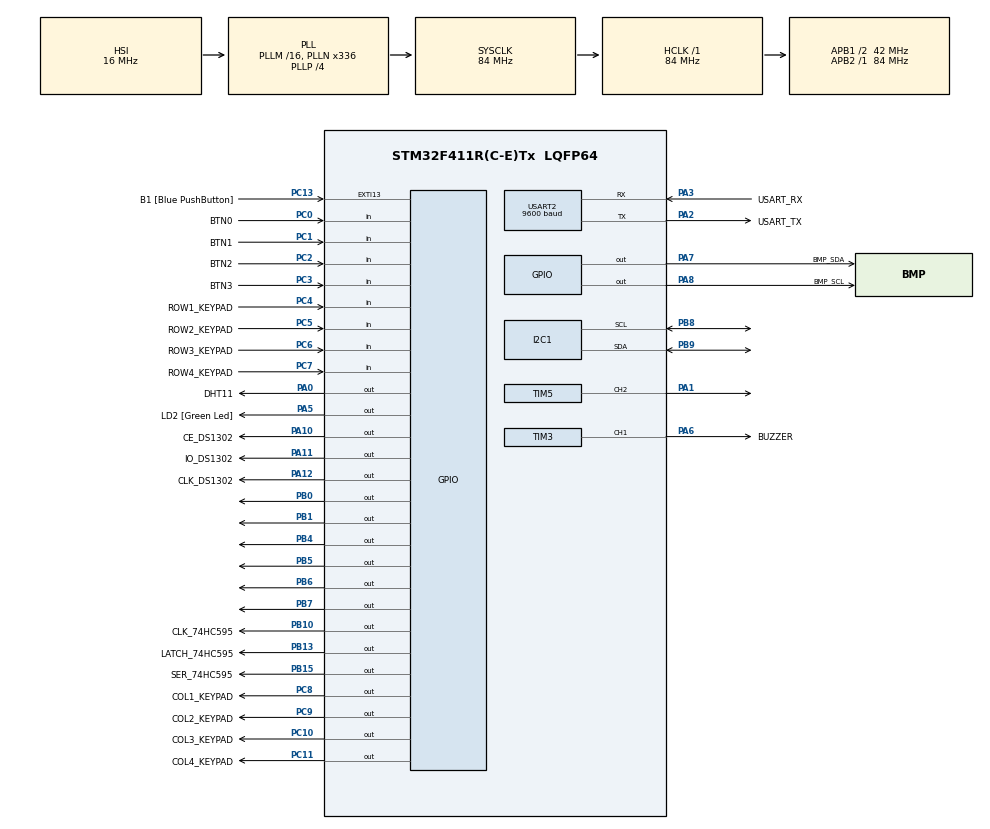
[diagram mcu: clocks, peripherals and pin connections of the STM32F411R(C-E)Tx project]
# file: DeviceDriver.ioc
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FREERTOS.Tasks01=defaultTask,24,128,StartDefaultTask,Default,NULL,Dynamic,NULL,NULL;myTask02,8,128,StartTask02,Default,NULL,Dynamic,NULL,NULL;myTask03,8,128,StartTask03,Default,NULL,Dynamic,NULL,NULL
FREERTOS.configUSE_NEWLIB_REENTRANT=1
Mcu.Family=STM32F4
Mcu.Name=STM32F411R(C-E)Tx
Mcu.Package=LQFP64
NVIC.PriorityGroup=NVIC_PRIORITYGROUP_4
NVIC.TIM1_TRG_COM_TIM11_IRQn=true\:5\:0\:false\:false\:true\:true\:true\:true\:true
NVIC.TIM1_UP_TIM10_IRQn=true\:15\:0\:false\:false\:true\:false\:false\:true\:true
NVIC.TIM3_IRQn=true\:5\:0\:false\:false\:true\:true\:true\:true\:true
NVIC.TIM5_IRQn=true\:5\:0\:false\:false\:true\:true\:true\:true\:true
NVIC.TimeBase=TIM1_UP_TIM10_IRQn
NVIC.TimeBaseIP=TIM10
NVIC.USART2_IRQn=true\:5\:0\:false\:false\:true\:true\:true\:true\:true
PA0-WKUP.GPIO_Label=DHT11
PA0-WKUP.Signal=GPIO_Output
PA1.Signal=S_TIM5_CH2
PA10.GPIO_Label=CE_DS1302
PA10.Signal=GPIO_Output
PA11.GPIO_Label=IO_DS1302
PA11.Signal=GPIO_Output
PA12.GPIO_Label=CLK_DS1302
PA12.Signal=GPIO_Output
PA13.GPIO_Label=TMS
PA13.Mode=Serial_Wire
PA13.Signal=SYS_JTMS-SWDIO
PA14.GPIO_Label=TCK
PA14.Mode=Serial_Wire
PA14.Signal=SYS_JTCK-SWCLK
PA2.GPIO_Label=USART_TX
PA2.Mode=Asynchronous
PA2.Signal=USART2_TX
PA3.GPIO_Label=USART_RX
PA3.Mode=Asynchronous
PA3.Signal=USART2_RX
PA5.GPIO_Label=LD2 [Green Led]
PA5.Signal=GPIO_Output
PA6.GPIO_Label=BUZZER
PA6.Signal=S_TIM3_CH1
PA7.GPIO_Label=BMP_SDA
PA7.GPIO_PuPd=GPIO_PULLUP
PA7.Signal=GPIO_Output
PA8.GPIO_Label=BMP_SCL
PA8.GPIO_PuPd=GPIO_PULLUP
PA8.Signal=GPIO_Output
PB0.Signal=GPIO_Output
PB1.Signal=GPIO_Output
PB10.GPIO_Label=CLK_74HC595
PB10.Signal=GPIO_Output
PB13.GPIO_Label=LATCH_74HC595
PB13.Signal=GPIO_Output
PB15.GPIO_Label=SER_74HC595
PB15.Signal=GPIO_Output
PB4.GPIO_PuPd=GPIO_NOPULL
PB4.Signal=GPIO_Output
PB5.Signal=GPIO_Output
PB6.Signal=GPIO_Output
PB7.Signal=GPIO_Output
PB8.Mode=I2C
PB8.Signal=I2C1_SCL
PB9.Mode=I2C
PB9.Signal=I2C1_SDA
PC0.GPIO_Label=BTN0
PC0.Signal=GPIO_Input
PC1.GPIO_Label=BTN1
PC1.Signal=GPIO_Input
PC10.GPIO_Label=COL3_KEYPAD
PC10.Signal=GPIO_Output
PC11.GPIO_Label=COL4_KEYPAD
PC11.Signal=GPIO_Output
PC13-ANTI_TAMP.GPIO_Label=B1 [Blue PushButton]
PC13-ANTI_TAMP.GPIO_ModeDefaultEXTI=GPIO_MODE_IT_FALLING
PC13-ANTI_TAMP.Signal=GPXTI13
PC14-OSC32_IN.Mode=LSE-External-Oscillator
PC14-OSC32_IN.Signal=RCC_OSC32_IN
PC15-OSC32_OUT.Mode=LSE-External-Oscillator
PC15-OSC32_OUT.Signal=RCC_OSC32_OUT
PC2.GPIO_Label=BTN2
PC2.Signal=GPIO_Input
PC3.GPIO_Label=BTN3
PC3.Signal=GPIO_Input
PC4.GPIO_Label=ROW1_KEYPAD
PC4.GPIO_PuPd=GPIO_PULLUP
PC4.Signal=GPIO_Input
PC5.GPIO_Label=ROW2_KEYPAD
PC5.GPIO_PuPd=GPIO_PULLUP
PC5.Signal=GPIO_Input
PC6.GPIO_Label=ROW3_KEYPAD
PC6.GPIO_PuPd=GPIO_PULLUP
PC6.Signal=GPIO_Input
PC7.GPIO_Label=ROW4_KEYPAD
PC7.GPIO_PuPd=GPIO_PULLUP
PC7.Signal=GPIO_Input
PC8.GPIO_Label=COL1_KEYPAD
PC8.Signal=GPIO_Output
PC9.GPIO_Label=COL2_KEYPAD
PC9.Signal=GPIO_Output
PH0\ -\ OSC_IN.Mode=HSE-External-Clock-Source
PH0\ -\ OSC_IN.Signal=RCC_OSC_IN
PH1\ -\ OSC_OUT.Mode=HSE-External-Clock-Source
PH1\ -\ OSC_OUT.Signal=RCC_OSC_OUT
ProjectManager.HeapSize=0x200
ProjectManager.StackSize=0x400
ProjectManager.TargetToolchain=STM32CubeIDE
RCC.48MHZClocksFreq_Value=84000000
RCC.AHBFreq_Value=84000000
RCC.APB1CLKDivider=RCC_HCLK_DIV2
RCC.APB1Freq_Value=42000000
RCC.APB1TimFreq_Value=84000000
RCC.APB2Freq_Value=84000000
RCC.APB2TimFreq_Value=84000000
RCC.CortexFreq_Value=84000000
RCC.FLatency-AdvancedSettings=FLASH_LATENCY_2
RCC.HCLKFreq_Value=84000000
RCC.HSE_VALUE=8000000
RCC.HSI_VALUE=16000000
RCC.PLLN=336
RCC.PLLP=RCC_PLLP_DIV4
RCC.SYSCLKFreq_VALUE=84000000
RCC.SYSCLKSource=RCC_SYSCLKSOURCE_PLLCLK
RCC.VCOOutputFreq_Value=336000000
SH.S_TIM3_CH1.0=TIM3_CH1,PWM Generation1 CH1
SH.S_TIM5_CH2.0=TIM5_CH2,PWM Generation2 CH2
TIM11.Period=1000-1
TIM11.Prescaler=84-1
TIM2.Prescaler=84-1
TIM3.Channel-PWM\ Generation1\ CH1=TIM_CHANNEL_1
TIM3.Period=400-1
TIM3.Prescaler=52.5-1
TIM3.Pulse-PWM\ Generation1\ CH1=200-1
TIM5.Channel-PWM\ Generation2\ CH2=TIM_CHANNEL_2
TIM5.Period=1000-1
TIM5.Prescaler=1680-1
USART2.BaudRate=9600
USART2.VirtualMode=VM_ASYNC
VP_FREERTOS_VS_CMSIS_V2.Mode=CMSIS_V2
VP_SYS_VS_tim10.Mode=TIM10
VP_TIM11_VS_ClockSourceINT.Mode=Enable_Timer
VP_TIM2_VS_ClockSourceINT.Mode=Internal
VP_TIM3_VS_ClockSourceINT.Mode=Internal
VP_TIM5_VS_ClockSourceINT.Mode=Internal
board=NUCLEO-F411RE

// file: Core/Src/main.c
/* USER CODE BEGIN Header */
/**
  ******************************************************************************
  * @file           : main.c
  * @brief          : Main program body
  ******************************************************************************
  * @attention
  *
  * Copyright (c) 2025 STMicroelectronics.
  * All rights reserved.
  *
  * This software is licensed under terms that can be found in the LICENSE file
  * in the root directory of this software component.
  * If no LICENSE file comes with this software, it is provided AS-IS.
  *
  ******************************************************************************
  */
/* USER CODE END Header */
#include "main.h"
#include "cmsis_os.h"

/* USER CODE BEGIN Includes */
#include "def.h"
#include "extern.h"

#include "devicedriver.h"
/* USER CODE END Includes */

I2C_HandleTypeDef hi2c1;

TIM_HandleTypeDef htim2;
TIM_HandleTypeDef htim3;
TIM_HandleTypeDef htim5;
TIM_HandleTypeDef htim11;

UART_HandleTypeDef huart2;

/* Definitions for defaultTask */
osThreadId_t defaultTaskHandle;
const osThreadAttr_t defaultTask_attributes = {
  .name = "defaultTask",
  .stack_size = 128 * 4,
  .priority = (osPriority_t) osPriorityNormal,
};
/* Definitions for myTask02 */
osThreadId_t myTask02Handle;
const osThreadAttr_t myTask02_attributes = {
  .name = "myTask02",
  .stack_size = 128 * 4,
  .priority = (osPriority_t) osPriorityLow,
};
/* Definitions for myTask03 */
osThreadId_t myTask03Handle;
const osThreadAttr_t myTask03_attributes = {
  .name = "myTask03",
  .stack_size = 128 * 4,
  .priority = (osPriority_t) osPriorityLow,
};
/* USER CODE BEGIN PV */

uint8_t rx_data; // uart2 rx byte

volatile int TIM11_1ms_counter;

volatile int TIM11_keypad_scan_timer = 0;
/* USER CODE END PV */

void SystemClock_Config(void);
static void MX_GPIO_Init(void);
static void MX_USART2_UART_Init(void);
static void MX_TIM11_Init(void);
static void MX_TIM2_Init(void);
static void MX_I2C1_Init(void);
static void MX_TIM3_Init(void);
static void MX_TIM5_Init(void);
void StartDefaultTask(void *argument);
void StartTask02(void *argument);
void StartTask03(void *argument);

/* USER CODE BEGIN 0 */
#ifdef __GNUC__    // Add for printf
/* With GCC, small printf (option LD Linker->Libraries->Small printf
   set to 'Yes') calls __io_putchar() */
#define PUTCHAR_PROTOTYPE int __io_putchar(int ch)
#else
#define PUTCHAR_PROTOTYPE int fputc(int ch, FILE *f)
#endif /* __GNUC__ */
/**
  * @brief  Retargets the C library printf function to the USART.
  * @param  None
  * @retval None
  */
PUTCHAR_PROTOTYPE   // Add for printf
{
  /* Place your implementation of fputc here */
  /* e.g. write a character to the USART3 and Loop until the end of transmission */
  HAL_UART_Transmit(&huart2, (uint8_t *)&ch, 1, 0xFFFF);

  return ch;
}

/* USER CODE END 0 */

int main(void)
{

  /* MCU Configuration--------------------------------------------------------*/

  /* Reset of all peripherals, Initializes the Flash interface and the Systick. */
  HAL_Init();

  /* Configure the system clock */
  SystemClock_Config();

  /* Initialize all configured peripherals */
  MX_GPIO_Init();
  MX_USART2_UART_Init();
  MX_TIM11_Init();
  MX_TIM2_Init();
  MX_I2C1_Init();
  MX_TIM3_Init();
  MX_TIM5_Init();
  /* USER CODE BEGIN 2 */

  HAL_UART_Receive_IT(&huart2, &rx_data, 1); // receive a time one byte
  HAL_TIM_Base_Start_IT(&htim11);
  HAL_TIM_Base_Start_IT(&htim2); //timer 2 start for delay_us

//  button_init();
//  keypadInit();

  //bmp180_init();
  dd_init();

  dd_run();

  //bmp180_run();

  //run_animation();
  //button_init();

  //init_dht11();
  //i2c_lcd_init();

  //servo_motor_main();
  //i2c_lcd_main();
  //ds1302_main();

  //dh11_main();

  /* USER CODE END 2 */

  /* Init scheduler */
  osKernelInitialize();

  /* Create the thread(s) */
  /* creation of defaultTask */
  defaultTaskHandle = osThreadNew(StartDefaultTask, NULL, &defaultTask_attributes);

  /* creation of myTask02 */
  myTask02Handle = osThreadNew(StartTask02, NULL, &myTask02_attributes);

  /* creation of myTask03 */
  myTask03Handle = osThreadNew(StartTask03, NULL, &myTask03_attributes);

  /* Start scheduler */
  osKernelStart();

  /* We should never get here as control is now taken by the scheduler */

  /* Infinite loop */
  while (1)
  {
	  dd_update();
	  dd_render();
  }
}

void SystemClock_Config(void)
{
  RCC_OscInitTypeDef RCC_OscInitStruct = {0};
  RCC_ClkInitTypeDef RCC_ClkInitStruct = {0};

  /** Configure the main internal regulator output voltage
  */
  __HAL_RCC_PWR_CLK_ENABLE();
  __HAL_PWR_VOLTAGESCALING_CONFIG(PWR_REGULATOR_VOLTAGE_SCALE1);

  /** Initializes the RCC Oscillators according to the specified parameters
  * in the RCC_OscInitTypeDef structure.
  */
  RCC_OscInitStruct.OscillatorType = RCC_OSCILLATORTYPE_HSI;
  RCC_OscInitStruct.HSIState = RCC_HSI_ON;
  RCC_OscInitStruct.HSICalibrationValue = RCC_HSICALIBRATION_DEFAULT;
  RCC_OscInitStruct.PLL.PLLState = RCC_PLL_ON;
  RCC_OscInitStruct.PLL.PLLSource = RCC_PLLSOURCE_HSI;
  RCC_OscInitStruct.PLL.PLLM = 16;
  RCC_OscInitStruct.PLL.PLLN = 336;
  RCC_OscInitStruct.PLL.PLLP = RCC_PLLP_DIV4;
  RCC_OscInitStruct.PLL.PLLQ = 4;
  if (HAL_RCC_OscConfig(&RCC_OscInitStruct) != HAL_OK)
  {
    Error_Handler();
  }

  /** Initializes the CPU, AHB and APB buses clocks
  */
  RCC_ClkInitStruct.ClockType = RCC_CLOCKTYPE_HCLK|RCC_CLOCKTYPE_SYSCLK
                              |RCC_CLOCKTYPE_PCLK1|RCC_CLOCKTYPE_PCLK2;
  RCC_ClkInitStruct.SYSCLKSource = RCC_SYSCLKSOURCE_PLLCLK;
  RCC_ClkInitStruct.AHBCLKDivider = RCC_SYSCLK_DIV1;
  RCC_ClkInitStruct.APB1CLKDivider = RCC_HCLK_DIV2;
  RCC_ClkInitStruct.APB2CLKDivider = RCC_HCLK_DIV1;

  if (HAL_RCC_ClockConfig(&RCC_ClkInitStruct, FLASH_LATENCY_2) != HAL_OK)
  {
    Error_Handler();
  }
}

static void MX_I2C1_Init(void)
{

  hi2c1.Instance = I2C1;
  hi2c1.Init.ClockSpeed = 100000;
  hi2c1.Init.DutyCycle = I2C_DUTYCYCLE_2;
  hi2c1.Init.OwnAddress1 = 0;
  hi2c1.Init.AddressingMode = I2C_ADDRESSINGMODE_7BIT;
  hi2c1.Init.DualAddressMode = I2C_DUALADDRESS_DISABLE;
  hi2c1.Init.OwnAddress2 = 0;
  hi2c1.Init.GeneralCallMode = I2C_GENERALCALL_DISABLE;
  hi2c1.Init.NoStretchMode = I2C_NOSTRETCH_DISABLE;
  if (HAL_I2C_Init(&hi2c1) != HAL_OK)
  {
    Error_Handler();
  }

}

static void MX_TIM2_Init(void)
{

  TIM_ClockConfigTypeDef sClockSourceConfig = {0};
  TIM_MasterConfigTypeDef sMasterConfig = {0};

  htim2.Instance = TIM2;
  htim2.Init.Prescaler = 84-1;
  htim2.Init.CounterMode = TIM_COUNTERMODE_UP;
  htim2.Init.Period = 4294967295;
  htim2.Init.ClockDivision = TIM_CLOCKDIVISION_DIV1;
  htim2.Init.AutoReloadPreload = TIM_AUTORELOAD_PRELOAD_DISABLE;
  if (HAL_TIM_Base_Init(&htim2) != HAL_OK)
  {
    Error_Handler();
  }
  sClockSourceConfig.ClockSource = TIM_CLOCKSOURCE_INTERNAL;
  if (HAL_TIM_ConfigClockSource(&htim2, &sClockSourceConfig) != HAL_OK)
  {
    Error_Handler();
  }
  sMasterConfig.MasterOutputTrigger = TIM_TRGO_RESET;
  sMasterConfig.MasterSlaveMode = TIM_MASTERSLAVEMODE_DISABLE;
  if (HAL_TIMEx_MasterConfigSynchronization(&htim2, &sMasterConfig) != HAL_OK)
  {
    Error_Handler();
  }

}

static void MX_TIM3_Init(void)
{

  TIM_ClockConfigTypeDef sClockSourceConfig = {0};
  TIM_MasterConfigTypeDef sMasterConfig = {0};
  TIM_OC_InitTypeDef sConfigOC = {0};

  htim3.Instance = TIM3;
  htim3.Init.Prescaler = 52.5-1;
  htim3.Init.CounterMode = TIM_COUNTERMODE_UP;
  htim3.Init.Period = 400-1;
  htim3.Init.ClockDivision = TIM_CLOCKDIVISION_DIV1;
  htim3.Init.AutoReloadPreload = TIM_AUTORELOAD_PRELOAD_DISABLE;
  if (HAL_TIM_Base_Init(&htim3) != HAL_OK)
  {
    Error_Handler();
  }
  sClockSourceConfig.ClockSource = TIM_CLOCKSOURCE_INTERNAL;
  if (HAL_TIM_ConfigClockSource(&htim3, &sClockSourceConfig) != HAL_OK)
  {
    Error_Handler();
  }
  if (HAL_TIM_PWM_Init(&htim3) != HAL_OK)
  {
    Error_Handler();
  }
  sMasterConfig.MasterOutputTrigger = TIM_TRGO_RESET;
  sMasterConfig.MasterSlaveMode = TIM_MASTERSLAVEMODE_DISABLE;
  if (HAL_TIMEx_MasterConfigSynchronization(&htim3, &sMasterConfig) != HAL_OK)
  {
    Error_Handler();
  }
  sConfigOC.OCMode = TIM_OCMODE_PWM1;
  sConfigOC.Pulse = 200-1;
  sConfigOC.OCPolarity = TIM_OCPOLARITY_HIGH;
  sConfigOC.OCFastMode = TIM_OCFAST_DISABLE;
  if (HAL_TIM_PWM_ConfigChannel(&htim3, &sConfigOC, TIM_CHANNEL_1) != HAL_OK)
  {
    Error_Handler();
  }
  HAL_TIM_MspPostInit(&htim3);

}

static void MX_TIM5_Init(void)
{

  TIM_ClockConfigTypeDef sClockSourceConfig = {0};
  TIM_MasterConfigTypeDef sMasterConfig = {0};
  TIM_OC_InitTypeDef sConfigOC = {0};

  htim5.Instance = TIM5;
  htim5.Init.Prescaler = 1680-1;
  htim5.Init.CounterMode = TIM_COUNTERMODE_UP;
  htim5.Init.Period = 1000-1;
  htim5.Init.ClockDivision = TIM_CLOCKDIVISION_DIV1;
  htim5.Init.AutoReloadPreload = TIM_AUTORELOAD_PRELOAD_DISABLE;
  if (HAL_TIM_Base_Init(&htim5) != HAL_OK)
  {
    Error_Handler();
  }
  sClockSourceConfig.ClockSource = TIM_CLOCKSOURCE_INTERNAL;
  if (HAL_TIM_ConfigClockSource(&htim5, &sClockSourceConfig) != HAL_OK)
  {
    Error_Handler();
  }
  if (HAL_TIM_PWM_Init(&htim5) != HAL_OK)
  {
    Error_Handler();
  }
  sMasterConfig.MasterOutputTrigger = TIM_TRGO_RESET;
  sMasterConfig.MasterSlaveMode = TIM_MASTERSLAVEMODE_DISABLE;
  if (HAL_TIMEx_MasterConfigSynchronization(&htim5, &sMasterConfig) != HAL_OK)
  {
    Error_Handler();
  }
  sConfigOC.OCMode = TIM_OCMODE_PWM1;
  sConfigOC.Pulse = 0;
  sConfigOC.OCPolarity = TIM_OCPOLARITY_HIGH;
  sConfigOC.OCFastMode = TIM_OCFAST_DISABLE;
  if (HAL_TIM_PWM_ConfigChannel(&htim5, &sConfigOC, TIM_CHANNEL_2) != HAL_OK)
  {
    Error_Handler();
  }
  HAL_TIM_MspPostInit(&htim5);

}

static void MX_TIM11_Init(void)
{

  htim11.Instance = TIM11;
  htim11.Init.Prescaler = 84-1;
  htim11.Init.CounterMode = TIM_COUNTERMODE_UP;
  htim11.Init.Period = 1000-1;
  htim11.Init.ClockDivision = TIM_CLOCKDIVISION_DIV1;
  htim11.Init.AutoReloadPreload = TIM_AUTORELOAD_PRELOAD_DISABLE;
  if (HAL_TIM_Base_Init(&htim11) != HAL_OK)
  {
    Error_Handler();
  }

}

static void MX_USART2_UART_Init(void)
{

  huart2.Instance = USART2;
  huart2.Init.BaudRate = 9600;
  huart2.Init.WordLength = UART_WORDLENGTH_8B;
  huart2.Init.StopBits = UART_STOPBITS_1;
  huart2.Init.Parity = UART_PARITY_NONE;
  huart2.Init.Mode = UART_MODE_TX_RX;
  huart2.Init.HwFlowCtl = UART_HWCONTROL_NONE;
  huart2.Init.OverSampling = UART_OVERSAMPLING_16;
  if (HAL_UART_Init(&huart2) != HAL_OK)
  {
    Error_Handler();
  }

}

static void MX_GPIO_Init(void)
{
  GPIO_InitTypeDef GPIO_InitStruct = {0};

  /* GPIO Ports Clock Enable */
  __HAL_RCC_GPIOC_CLK_ENABLE();
  __HAL_RCC_GPIOH_CLK_ENABLE();
  __HAL_RCC_GPIOA_CLK_ENABLE();
  __HAL_RCC_GPIOB_CLK_ENABLE();

  /*Configure GPIO pin Output Level */
  HAL_GPIO_WritePin(GPIOA, DHT11_Pin|LD2_Pin|BMP_SDA_Pin|BMP_SCL_Pin
                          |CE_DS1302_Pin|IO_DS1302_Pin|CLK_DS1302_Pin, GPIO_PIN_RESET);

  /*Configure GPIO pin Output Level */
  HAL_GPIO_WritePin(GPIOB, GPIO_PIN_0|GPIO_PIN_1|CLK_74HC595_Pin|LATCH_74HC595_Pin
                          |SER_74HC595_Pin|GPIO_PIN_4|GPIO_PIN_5|GPIO_PIN_6
                          |GPIO_PIN_7, GPIO_PIN_RESET);

  /*Configure GPIO pin Output Level */
  HAL_GPIO_WritePin(GPIOC, COL1_KEYPAD_Pin|COL2_KEYPAD_Pin|COL3_KEYPAD_Pin|COL4_KEYPAD_Pin, GPIO_PIN_RESET);

  /*Configure GPIO pin : B1_Pin */
  GPIO_InitStruct.Pin = B1_Pin;
  GPIO_InitStruct.Mode = GPIO_MODE_IT_FALLING;
  GPIO_InitStruct.Pull = GPIO_NOPULL;
  HAL_GPIO_Init(B1_GPIO_Port, &GPIO_InitStruct);

  /*Configure GPIO pins : BTN0_Pin BTN1_Pin BTN2_Pin BTN3_Pin */
  GPIO_InitStruct.Pin = BTN0_Pin|BTN1_Pin|BTN2_Pin|BTN3_Pin;
  GPIO_InitStruct.Mode = GPIO_MODE_INPUT;
  GPIO_InitStruct.Pull = GPIO_NOPULL;
  HAL_GPIO_Init(GPIOC, &GPIO_InitStruct);

  /*Configure GPIO pins : DHT11_Pin LD2_Pin CE_DS1302_Pin IO_DS1302_Pin
                           CLK_DS1302_Pin */
  GPIO_InitStruct.Pin = DHT11_Pin|LD2_Pin|CE_DS1302_Pin|IO_DS1302_Pin
                          |CLK_DS1302_Pin;
  GPIO_InitStruct.Mode = GPIO_MODE_OUTPUT_PP;
  GPIO_InitStruct.Pull = GPIO_NOPULL;
  GPIO_InitStruct.Speed = GPIO_SPEED_FREQ_LOW;
  HAL_GPIO_Init(GPIOA, &GPIO_InitStruct);

  /*Configure GPIO pins : BMP_SDA_Pin BMP_SCL_Pin */
  GPIO_InitStruct.Pin = BMP_SDA_Pin|BMP_SCL_Pin;
  GPIO_InitStruct.Mode = GPIO_MODE_OUTPUT_PP;
  GPIO_InitStruct.Pull = GPIO_PULLUP;
  GPIO_InitStruct.Speed = GPIO_SPEED_FREQ_LOW;
  HAL_GPIO_Init(GPIOA, &GPIO_InitStruct);

  /*Configure GPIO pins : ROW1_KEYPAD_Pin ROW2_KEYPAD_Pin ROW3_KEYPAD_Pin ROW4_KEYPAD_Pin */
  GPIO_InitStruct.Pin = ROW1_KEYPAD_Pin|ROW2_KEYPAD_Pin|ROW3_KEYPAD_Pin|ROW4_KEYPAD_Pin;
  GPIO_InitStruct.Mode = GPIO_MODE_INPUT;
  GPIO_InitStruct.Pull = GPIO_PULLUP;
  HAL_GPIO_Init(GPIOC, &GPIO_InitStruct);

  /*Configure GPIO pins : PB0 PB1 CLK_74HC595_Pin LATCH_74HC595_Pin
                           SER_74HC595_Pin PB4 PB5 PB6
                           PB7 */
  GPIO_InitStruct.Pin = GPIO_PIN_0|GPIO_PIN_1|CLK_74HC595_Pin|LATCH_74HC595_Pin
                          |SER_74HC595_Pin|GPIO_PIN_4|GPIO_PIN_5|GPIO_PIN_6
                          |GPIO_PIN_7;
  GPIO_InitStruct.Mode = GPIO_MODE_OUTPUT_PP;
  GPIO_InitStruct.Pull = GPIO_NOPULL;
  GPIO_InitStruct.Speed = GPIO_SPEED_FREQ_LOW;
  HAL_GPIO_Init(GPIOB, &GPIO_InitStruct);

  /*Configure GPIO pins : COL1_KEYPAD_Pin COL2_KEYPAD_Pin COL3_KEYPAD_Pin COL4_KEYPAD_Pin */
  GPIO_InitStruct.Pin = COL1_KEYPAD_Pin|COL2_KEYPAD_Pin|COL3_KEYPAD_Pin|COL4_KEYPAD_Pin;
  GPIO_InitStruct.Mode = GPIO_MODE_OUTPUT_PP;
  GPIO_InitStruct.Pull = GPIO_NOPULL;
  GPIO_InitStruct.Speed = GPIO_SPEED_FREQ_LOW;
  HAL_GPIO_Init(GPIOC, &GPIO_InitStruct);

}

void StartDefaultTask(void *argument)
{
  /* USER CODE BEGIN 5 */
  /* Infinite loop */
  for(;;)
  {
	button_led_toggle_test();
    osDelay(1);
  }
  /* USER CODE END 5 */
}

void StartTask02(void *argument)
{
  /* USER CODE BEGIN StartTask02 */
  /* Infinite loop */
  for(;;)
  {
    osDelay(50);
  }
  /* USER CODE END StartTask02 */
}

void StartTask03(void *argument)
{
  /* USER CODE BEGIN StartTask03 */
  /* Infinite loop */
  for(;;)
  {
	osDelay(50);
  }
  /* USER CODE END StartTask03 */
}

void HAL_TIM_PeriodElapsedCallback(TIM_HandleTypeDef *htim)
{
  if (htim->Instance == TIM10)
  {
    HAL_IncTick();
  }
  /* USER CODE BEGIN Callback 1 */
  if (htim->Instance == TIM11)
  {
	  TIM11_1ms_tick++;

	  TIM11_1ms_counter++;
	  TIM11_keypad_scan_timer++;

	  if(bmp_timer > 0) {
		  --bmp_timer;
	  }

	  // todo thread로 분리
	  if(TIM11_keypad_scan_timer >= KEYPAD_SCAN_TIME) {

		  TIM11_keypad_scan_timer = 0;

		  unsigned char key_value = keypadScan();
		  if(key_value) {
			  insert_queue(key_value);
		  }

	  }
  }

  /* USER CODE END Callback 1 */
}

void Error_Handler(void)
{
  __disable_irq();
  while (1)
  {
  }
}
